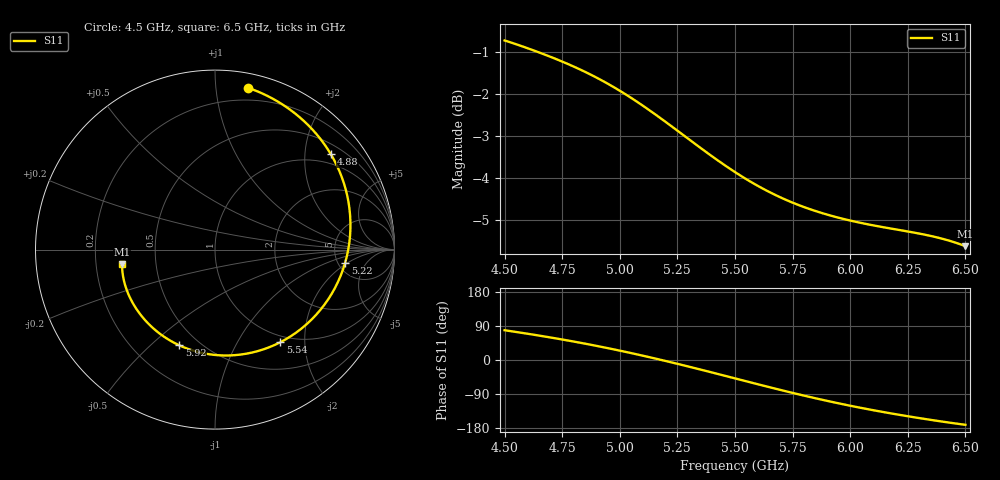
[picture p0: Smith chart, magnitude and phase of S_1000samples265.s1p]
! TOUCHSTONE file generated by CST MICROWAVE STUDIO
! Date and time: Thu Oct 27 13:53:55 2022
! Project name: L.cst
! Parameters = {Di=1.27; Epsilon_r=1.56; InnerDiameter=1.27; Length=2; Lf=10; Lg=60; OuterConductorThickness=0.2921; OuterDiameter=3.6; Wf=3; Wp=41.2; de=1.5; df=6.8; g=0.8; gx=2.89598; gy=2.29715; h=2.34; hf=1.524; px=11.8286; py=8.16079; w=9.7; wx=8.9326; wy=5.86365}
! Header version: 2018
! Port assignment regex: !\s*Touchstone port\s*([0-9]+)\s*=\s*(CST MWS port|CST DS port)\s*([0-9]+|Zmin|Zmax)\s*\(\"(.*)\"\)(\s*mode\s*([0-9]+))?.*
! Touchstone port assignment:
! Touchstone port 1 = CST MWS port 1 ("")
# GHz S DB R 50
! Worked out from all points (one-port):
!   101 points, 4.5 GHz to 6.5 GHz, reference 50 ohm
!   lowest |S11| = -5.6 dB at 6.5 GHz (marker M1), VSWR 3.20, Z = 15.7 - j3.53 ohm
!   |S11| at or under -10 dB: nowhere
!   S11 on the Smith chart (normalised r, x): 4.5 GHz: 0.10, +1.22; 4.88 GHz: 0.74, +2.60; 5.22 GHz: 5.81, -1.79; 5.54 GHz: 0.90, -1.54; 5.92 GHz: 0.39, -0.62; 6.5 GHz: 0.31, -0.07
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4.5  -0.72 78.5
4.58  -0.87 71.1
4.64  -0.99 65.4
4.76  -1.25 53.0
4.88  -1.55 39.5
4.94  -1.73 32.3
5  -1.92 24.7
5.06  -2.13 16.8
5.12  -2.35 8.6
5.16  -2.51 3.0
5.22  -2.75 -5.7
5.26  -2.91 -11.6
5.32  -3.15 -20.6
5.38  -3.40 -29.8
5.44  -3.63 -39.1
5.5  -3.85 -48.5
5.54  -3.99 -54.8
5.58  -4.12 -61.0
5.64  -4.30 -70.3
5.7  -4.46 -79.4
5.76  -4.60 -88.3
5.84  -4.76 -99.7
5.92  -4.89 -110.5
6  -5.00 -120.7
6.12  -5.14 -134.7
6.26  -5.27 -149.4
6.38  -5.41 -160.8
6.5  -5.61 -171.0
